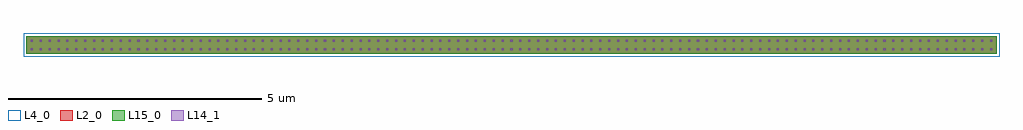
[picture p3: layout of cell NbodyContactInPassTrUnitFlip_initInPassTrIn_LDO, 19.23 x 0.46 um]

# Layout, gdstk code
import gdstk
lib = gdstk.Library(unit=1e-6, precision=1e-09)
def R(c, l, rs):  # rectangles x0, y0, x1, y1
    for r in rs: c.add(gdstk.rectangle(r[:2], r[2:], *l))
def A(c, l, x, y, w, h, nx, ny, dx, dy):  # array of equal rectangles
    R(c, l, [(x+i*dx, y+j*dy, x+i*dx+w, y+j*dy+h) for i in range(nx) for j in range(ny)])
L2_0 = (2, 0)
L4_0 = (4, 0)
L14_1 = (14, 1)
L15_0 = (15, 0)

nbodycontactinpasstrunit = lib.new_cell('NbodyContactInPassTrUnitFlip_initInPassTrIn_LDO')
R(nbodycontactinpasstrunit, L2_0, [(-9.56,-0.174,9.56,0.174)])
R(nbodycontactinpasstrunit, L4_0, [(-9.616,-0.23,9.616,0.23)])
A(nbodycontactinpasstrunit, L14_1, -9.47, -0.107, 0.04, 0.04, 109, 2, 0.175, 0.174)
R(nbodycontactinpasstrunit, L15_0, [(-9.56,-0.174,9.56,0.174)])

lib.write_gds('NbodyContactInPassTrUnitFlip_initInPassTrIn_LDO.gds')
